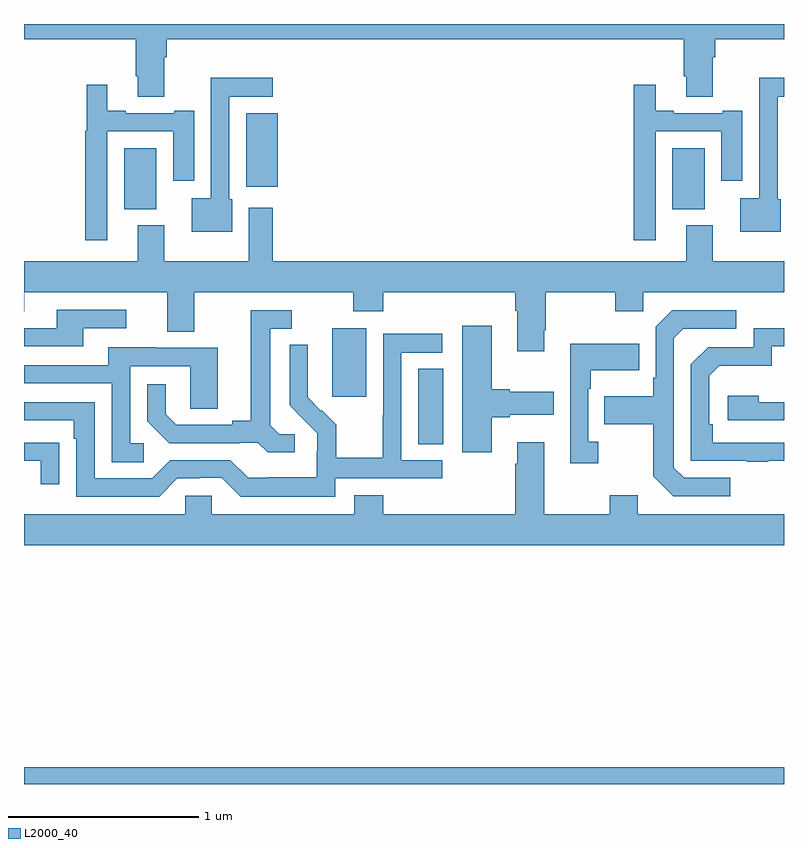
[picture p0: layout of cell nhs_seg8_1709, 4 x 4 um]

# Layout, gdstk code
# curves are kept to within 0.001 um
import gdstk
lib = gdstk.Library(unit=1e-6, precision=1e-09)
def R(c, l, rs):  # rectangles x0, y0, x1, y1
    for r in rs: c.add(gdstk.rectangle(r[:2], r[2:], *l))
def P(c, l, *ps):  # polygons
    for p in ps: c.add(gdstk.Polygon(p, *l))
L2000_40 = (2000, 40)

nhs_seg8_1709 = lib.new_cell('nhs_seg8_1709')
R(nhs_seg8_1709, L2000_40, [(219,1125.9,223,1125.988), (221.075,1127.689,221.206,1128.086), (220.622,1127.937,220.801,1128.298), (219.527,1128.926,219.697,1129.246), (222.413,1128.926,222.583,1129.246), (220.169,1129.043,220.336,1129.429)])
P(nhs_seg8_1709, L2000_40, [(219.739,1129.724),(219.752,1129.724),(219.752,1129.82),(222.473,1129.82),(222.473,1129.624),(222.485,1129.624),(222.485,1129.516),(222.625,1129.516),(222.625,1129.724),(222.638,1129.724),(222.638,1129.82),(223,1129.82),(223,1129.9),(219,1129.9),(219,1129.82),(219.587,1129.82),(219.587,1129.624),(219.599,1129.624),(219.599,1129.516),(219.739,1129.516)],
  [(220.096,1128.978),(220.08,1128.978),(220.08,1129.518),(220.309,1129.518),(220.309,1129.616),(219.984,1129.616),(219.984,1128.982),(219.884,1128.982),(219.884,1128.806),(220.096,1128.806)],
  [(222.982,1128.978),(222.966,1128.978),(222.966,1129.518),(223,1129.518),(223,1129.616),(222.87,1129.616),(222.87,1128.982),(222.77,1128.982),(222.77,1128.806),(222.982,1128.806)],
  [(222.324,1129.335),(222.671,1129.335),(222.671,1129.074),(222.781,1129.074),(222.781,1129.444),(222.677,1129.444),(222.677,1129.431),(222.421,1129.431),(222.421,1129.444),(222.325,1129.444),(222.325,1129.579),(222.208,1129.579),(222.208,1128.762),(222.324,1128.762)],
  [(219.438,1129.335),(219.785,1129.335),(219.785,1129.074),(219.895,1129.074),(219.895,1129.444),(219.791,1129.444),(219.791,1129.431),(219.535,1129.431),(219.535,1129.444),(219.439,1129.444),(219.439,1129.579),(219.33,1129.579),(219.33,1129.338),(219.322,1129.338),(219.322,1128.762),(219.438,1128.762)],
  [(221.737,1128.289),(221.745,1128.289),(221.745,1128.488),(222.112,1128.488),(222.112,1128.389),(222.258,1128.389),(222.258,1128.488),(223,1128.488),(223,1128.652),(222.625,1128.652),(222.625,1128.841),(222.485,1128.841),(222.485,1128.652),(220.31,1128.652),(220.31,1128.934),(220.184,1128.934),(220.184,1128.652),(219.739,1128.652),(219.739,1128.841),(219.599,1128.841),(219.599,1128.652),(219,1128.652),(219,1128.389),(219.001,1128.389),(219.001,1128.488),(219.755,1128.488),(219.755,1128.28),(219.895,1128.28),(219.895,1128.488),(220.732,1128.488),(220.732,1128.389),(220.892,1128.389),(220.892,1128.488),(221.585,1128.488),(221.585,1128.392),(221.597,1128.392),(221.597,1128.177),(221.737,1128.177)],
  [(219.313,1128.3),(219.538,1128.3),(219.538,1128.396),(219.173,1128.396),(219.173,1128.3),(219,1128.3),(219,1128.204),(219.313,1128.204)],
  [(220.426,1127.742),(220.344,1127.742),(220.297,1127.789),(220.297,1128.297),(220.408,1128.297),(220.408,1128.393),(220.193,1128.393),(220.193,1127.813),(220.097,1127.813),(220.097,1127.79),(219.802,1127.79),(219.745,1127.847),(219.745,1128.004),(219.648,1128.004),(219.648,1127.81),(219.764,1127.694),(220.136,1127.694),(220.136,1127.697),(220.23,1127.697),(220.282,1127.645),(220.426,1127.645)],
  [(222.718,1127.511),(222.474,1127.511),(222.42,1127.565),(222.42,1128.246),(222.471,1128.297),(222.748,1128.297),(222.748,1128.393),(222.411,1128.393),(222.324,1128.306),(222.324,1128.037),(222.312,1128.037),(222.312,1127.941),(222.055,1127.941),(222.055,1127.794),(222.312,1127.794),(222.312,1127.521),(222.417,1127.415),(222.718,1127.415)],
  [(221.461,1127.831),(221.557,1127.831),(221.557,1127.843),(221.788,1127.843),(221.788,1127.965),(221.557,1127.965),(221.557,1127.978),(221.461,1127.978),(221.461,1128.313),(221.306,1128.313),(221.306,1127.646),(221.461,1127.646)],
  [(222.917,1127.601),(223,1127.601),(223,1127.697),(222.626,1127.697),(222.626,1127.794),(222.606,1127.794),(222.606,1128.048),(222.659,1128.101),(222.936,1128.101),(222.936,1128.204),(223,1128.204),(223,1128.3),(222.84,1128.3),(222.84,1128.198),(222.6,1128.198),(222.51,1128.108),(222.51,1127.601),(222.805,1127.601),(222.805,1127.596),(222.917,1127.596)],
  [(220.638,1127.508),(221.2,1127.508),(221.2,1127.604),(220.986,1127.604),(220.986,1128.171),(221.2,1128.171),(221.2,1128.27),(220.89,1128.27),(220.89,1127.84),(220.888,1127.84),(220.888,1127.617),(220.643,1127.617),(220.643,1127.791),(220.566,1127.868),(220.563,1127.865),(220.493,1127.936),(220.494,1128.212),(220.398,1128.212),(220.398,1127.894),(220.544,1127.746),(220.544,1127.649),(220.542,1127.649),(220.542,1127.515),(220.279,1127.515),(220.279,1127.511),(220.179,1127.511),(220.086,1127.604),(219.771,1127.604),(219.675,1127.508),(219.372,1127.508),(219.372,1127.91),(219,1127.91),(219,1127.814),(219.263,1127.814),(219.263,1127.717),(219.276,1127.717),(219.276,1127.412),(219.711,1127.412),(219.807,1127.508),(219.926,1127.508),(219.926,1127.511),(220.041,1127.511),(220.141,1127.411),(220.638,1127.411)],
  [(222.022,1127.702),(221.97,1127.702),(221.97,1127.981),(221.983,1127.981),(221.983,1128.077),(222.239,1128.077),(222.239,1128.217),(221.874,1128.217),(221.874,1127.589),(222.022,1127.589)],
  [(219.631,1127.694),(219.558,1127.694),(219.558,1128.099),(219.876,1128.099),(219.876,1127.875),(220.021,1127.875),(220.021,1128.195),(219.697,1128.195),(219.697,1128.199),(219.443,1128.199),(219.443,1128.105),(219,1128.105),(219,1128.009),(219.462,1128.009),(219.462,1127.593),(219.631,1127.593)],
  [(223,1127.91),(222.866,1127.91),(222.866,1127.944),(222.705,1127.944),(222.705,1127.814),(223,1127.814)],
  [(223,1127.32),(222.229,1127.32),(222.229,1127.419),(222.082,1127.419),(222.082,1127.32),(221.737,1127.32),(221.737,1127.698),(221.597,1127.698),(221.597,1127.585),(221.585,1127.585),(221.585,1127.32),(220.892,1127.32),(220.892,1127.419),(220.739,1127.419),(220.739,1127.32),(219.987,1127.32),(219.987,1127.418),(219.849,1127.418),(219.849,1127.32),(219,1127.32),(219,1127.156),(223,1127.156)],
  [(219.185,1127.696),(219.083,1127.696),(219.083,1127.697),(219,1127.697),(219,1127.601),(219.089,1127.601),(219.089,1127.478),(219.185,1127.478)])

lib.write_gds('nhs_seg8_1709.gds')
